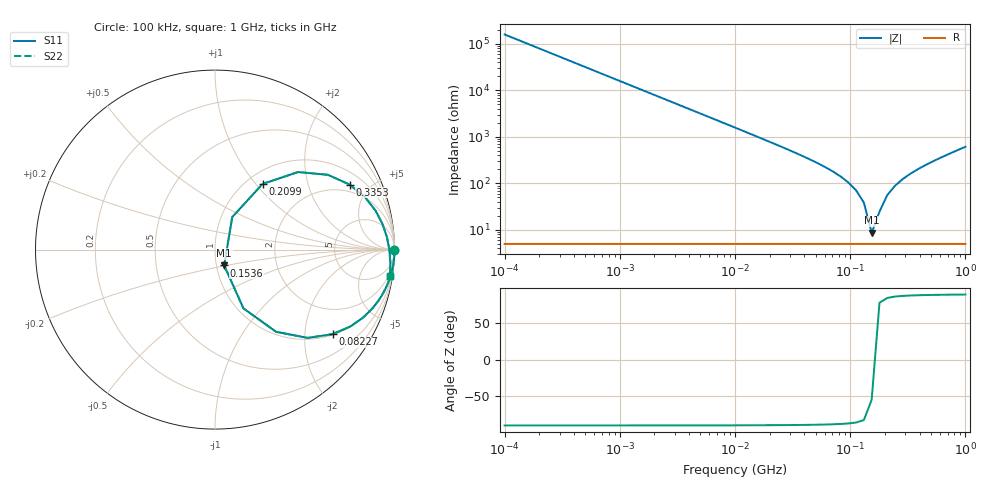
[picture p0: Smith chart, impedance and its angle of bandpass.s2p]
! Series R-L-C bandpass 2-port (R=5 ohm, L=100 nH, C=10 pF), shunt 0.5 pF
! Resonance near 1/(2*pi*sqrt(LC)) ~ 159 MHz. Reference impedance 50 ohm.
# HZ S RI R 50
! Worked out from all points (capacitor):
!   60 points, 100 kHz to 1 GHz, reference 50 ohm
!   read as one part in series: C = 10 pF near 100 kHz
!   lowest |Z| = 8.67 ohm at 153.6 MHz (marker M1)
!   series resonance near 159.5 MHz, so ESL is about 100 nH
!   S11 on the Smith chart (normalised r, x): 100 kHz: open; 82.27 MHz: 1.02, -2.76; 153.6 MHz: 1.09, -0.19; 209.9 MHz: 1.18, +1.08; 335.3 MHz: 1.58, +3.76; 1 GHz: 1, -13
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100000  1 -0.00066  4.34e-07 0.000628  4.34e-07 0.000628  1 -0.00066
476393.8  1 -0.00314  9.86e-06 0.00299  9.86e-06 0.00299  1 -0.00314
2269511  0.9998 -0.015  0.000224 0.0143  0.000224 0.0143  0.9998 -0.015
1.081181e7  0.9949 -0.0713  0.0051 0.0679  0.0051 0.0679  0.9949 -0.0713
2.359833e7  0.9754 -0.155  0.0246 0.1476  0.0246 0.1476  0.9754 -0.155
3.769391e7  0.9355 -0.2454  0.0644 0.2336  0.0644 0.2336  0.9355 -0.2454
5.150678e7  0.8755 -0.3295  0.1244 0.3133  0.1244 0.3133  0.8755 -0.3295
7.038136e7  0.7549 -0.4279  0.2448 0.4057  0.2448 0.4057  0.7549 -0.4279
8.227241e7  0.6546 -0.4713  0.345 0.4455  0.345 0.4455  0.6546 -0.4713
9.617249e7  0.5164 -0.492  0.4832 0.4617  0.4832 0.4617  0.5164 -0.492
1.12421e8  0.3404 -0.4581  0.659 0.4228  0.659 0.4228  0.3404 -0.4581
1.314147e8  0.1582 -0.3273  0.8409 0.286  0.8409 0.286  0.1582 -0.3273
1.536175e8  0.0512 -0.088  0.9476 0.0398  0.9476 0.0398  0.0512 -0.088
1.795714e8  0.096 0.1812  0.9024 -0.2376  0.9024 -0.2376  0.096 0.1812
2.099104e8  0.2647 0.3657  0.7331 -0.4316  0.7331 -0.4316  0.2647 0.3657
2.453751e8  0.4625 0.4321  0.5346 -0.509  0.5346 -0.509  0.4625 0.4321
2.868317e8  0.6289 0.4168  0.367 -0.5067  0.367 -0.5067  0.6289 0.4168
3.352924e8  0.7514 0.3616  0.2431 -0.4667  0.2431 -0.4667  0.7514 0.3616
3.919407e8  0.8367 0.2912  0.1558 -0.4139  0.1558 -0.4139  0.8367 0.2912
5.355667e8  0.9333 0.1426  0.0526 -0.3097  0.0526 -0.3097  0.9333 0.1426
7.318242e8  0.9718 -0.00218  0.00213 -0.2247  0.00213 -0.2247  0.9718 -0.00218
1e9  0.9746 -0.1471  -0.0227 -0.1595  -0.0227 -0.1595  0.9746 -0.1471
